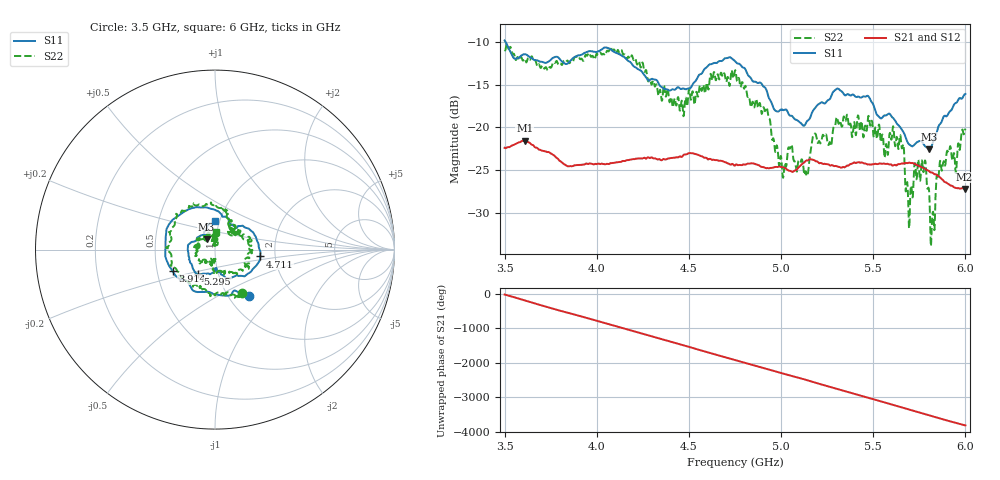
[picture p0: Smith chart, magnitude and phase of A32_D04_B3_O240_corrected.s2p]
! Created with skrf 1.9.0 (http://scikit-rf.org).
# Hz S RI R 50.0
!freq ReS11 ImS11 ReS21 ImS21 ReS12 ImS12 ReS22 ImS22
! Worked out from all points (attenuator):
!   1601 points, 3.5 GHz to 6 GHz, reference 50 ohm
!   highest |S21| = -21.54 dB at 3.609 GHz (marker M1); lowest = -27.2 dB at 5.995 GHz (marker M2)
!   lowest |S11| = -22.5 dB at 5.805 GHz (marker M3), VSWR 1.16, Z = 45.2 + j5.3 ohm
!   |S11| at or under -10 dB: 3.505 GHz to end of sweep
!   |S22| runs from -33.9 to -10.3 dB; largest |S21 - S12| = 0.00097
!   S11 on the Smith chart (normalised r, x): 3.5 GHz: 1.24, -0.72; 3.914 GHz: 0.60, -0.15; 4.711 GHz: 1.67, -0.14; 5.295 GHz: 0.80, -0.22; 6 GHz: 0.95, +0.30
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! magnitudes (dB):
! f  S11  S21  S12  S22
! 3.5 GHz  -9.8  -22.4  -22.4  -11.0
! 3.609 GHz  -11.4  -21.5  -21.5  -12.0
! 3.914 GHz  -11.5  -24.4  -24.3  -12.0
! 3.917 GHz  -11.5  -24.4  -24.3  -12.0
! 4.125 GHz  -11.5  -24.0  -24.0  -11.3
! 4.334 GHz  -14.8  -23.7  -23.6  -16.3
! 4.711 GHz  -11.9  -24.2  -24.1  -14.1
! 4.75 GHz  -12.3  -24.5  -24.4  -13.4
! 4.927 GHz  -16.0  -24.7  -24.7  -18.1
! 5.016 GHz  -18.0  -24.7  -24.6  -25.0
! 5.136 GHz  -19.4  -23.9  -23.8  -25.3
! 5.167 GHz  -18.3  -23.8  -23.7  -21.6
! 5.295 GHz  -15.6  -24.5  -24.4  -19.6
! 5.584 GHz  -18.4  -24.3  -24.2  -21.8
! 5.655 GHz  -20.2  -24.2  -24.1  -22.4
! 5.702 GHz  -22.1  -24.1  -24.1  -27.6
! 5.775 GHz  -22.0  -24.8  -24.7  -24.9
! 5.805 GHz  -22.5  -25.1  -25.1  -28.1
! 5.822 GHz  -21.9  -25.3  -25.2  -30.1
! 5.855 GHz  -19.8  -25.7  -25.6  -25.7
! 5.995 GHz  -16.1  -27.2  -27.1  -20.5
! 6 GHz  -16.1  -27.2  -27.1  -20.2
